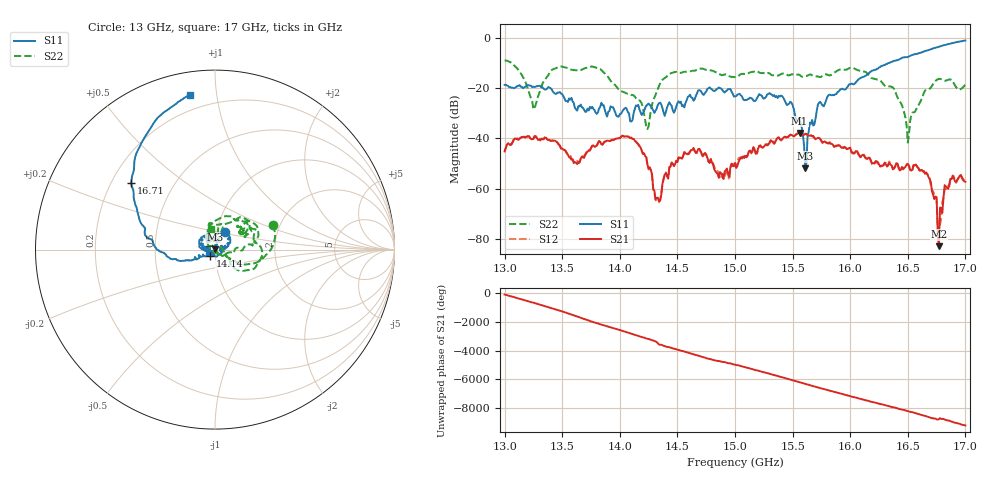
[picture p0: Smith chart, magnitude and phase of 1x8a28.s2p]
!Keysight Technologies,P9374A,MY57211807,A.19.30.04
!Date: Friday, May 08, 2026 14:12:48
!Correction: S11(C  2-Port  )
!S21(C  2-Port  )
!S12(C  2-Port  )
!S22(C  2-Port  )
!S2P File: Measurements: S11, S21, S12, S22:
# Hz S  dB  R 50
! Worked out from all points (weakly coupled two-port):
!   401 points, 13 GHz to 17 GHz, reference 50 ohm
!   highest |S21| = -37.90 dB at 15.56 GHz (marker M1); lowest = -82.8 dB at 16.77 GHz (marker M2)
!   lowest |S11| = -51.9 dB at 15.61 GHz (marker M3), VSWR 1.01, Z = 49.9 + j0.238 ohm
!   |S11| at or under -10 dB: start of sweep to 16.34 GHz
!   |S22| runs from -41.7 to -9.1 dB; largest |S21 - S12| = 0.00071
!   S11 on the Smith chart (normalised r, x): 13 GHz: 1.10, +0.22; 14.14 GHz: 0.95, -0.07; 16.71 GHz: 0.28, +0.33; 17 GHz: 0.12, +0.84
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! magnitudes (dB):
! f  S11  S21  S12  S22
! 13 GHz  -18.8  -45.2  -45.0  -9.1
! 13.26 GHz  -19.6  -39.2  -39.1  -28.0
! 13.42 GHz  -21.5  -40.9  -40.9  -12.6
! 13.67 GHz  -27.6  -47.2  -47.0  -12.8
! 14.14 GHz  -27.0  -41.3  -41.3  -24.1
! 14.24 GHz  -26.7  -50.4  -50.5  -36.4
! 14.34 GHz  -26.1  -65.0  -65.4  -19.3
! 14.45 GHz  -27.1  -49.5  -50.1  -14.1
! 14.63 GHz  -23.9  -44.6  -44.6  -13.2
! 14.88 GHz  -20.2  -53.9  -55.3  -14.9
! 15 GHz  -23.4  -49.7  -49.9  -15.8
! 15.4 GHz  -23.1  -40.4  -40.9  -14.5
! 15.56 GHz  -33.0  -37.9  -37.7  -14.8
! 15.61 GHz  -51.9  -38.3  -38.1  -15.3
! 15.67 GHz  -32.7  -39.1  -39.2  -15.0
! 15.82 GHz  -22.7  -41.9  -41.5  -15.0
! 16.34 GHz  -10.1  -49.7  -49.2  -19.4
! 16.5 GHz  -7.7  -50.3  -50.1  -41.7
! 16.71 GHz  -4.5  -61.1  -60.5  -19.2
! 16.77 GHz  -3.7  -82.8  -73.7  -16.4
! 16.88 GHz  -2.3  -56.2  -56.2  -16.8
! 17 GHz  -1.2  -57.2  -56.8  -18.5
